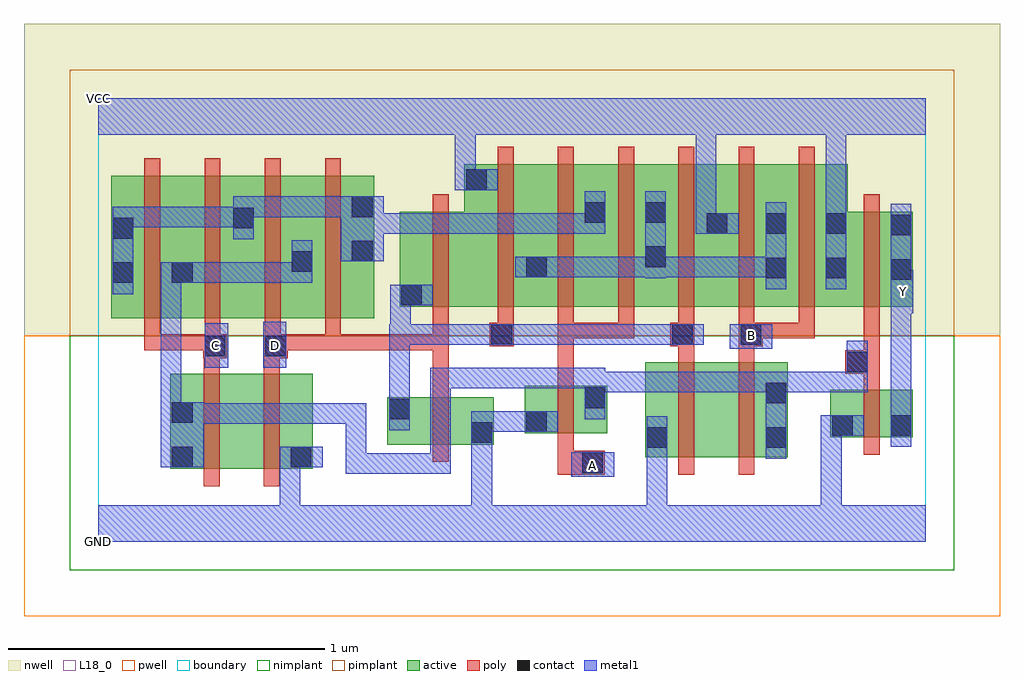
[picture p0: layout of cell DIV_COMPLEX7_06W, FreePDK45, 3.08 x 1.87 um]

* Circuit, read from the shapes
.subckt DIV_COMPLEX7_06W A B C D GND VCC Y
M1 n1 C n2 VSUBS nfet w=0.3u l=0.05u
M2 GND D n1 VSUBS nfet w=0.3u l=0.05u
M3 GND D n3 VSUBS nfet w=0.15u l=0.05u
M4 n2 A GND VSUBS nfet w=0.15u l=0.05u
M5 n4 n3 GND VSUBS nfet w=0.3u l=0.05u
M6 n2 B n4 VSUBS nfet w=0.3u l=0.05u
M7 Y n2 GND VSUBS nfet w=0.15u l=0.05u
M8 n2 C n5 n6 pfet w=0.45u l=0.05u m=2
M9 n2 D n5 n6 pfet w=0.45u l=0.05u m=2
M10 VCC D n3 n6 pfet w=0.3u l=0.05u
M11 n7 n3 VCC n6 pfet w=0.45u l=0.05u m=2
M12 n5 A n7 n6 pfet w=0.45u l=0.05u m=2
M13 n7 B VCC n6 pfet w=0.45u l=0.05u m=2
M14 Y n2 VCC n6 pfet w=0.3u l=0.05u
.ends

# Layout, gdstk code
import gdstk
lib = gdstk.Library(unit=1e-6, precision=1e-09)
def R(c, l, rs):  # rectangles x0, y0, x1, y1
    for r in rs: c.add(gdstk.rectangle(r[:2], r[2:], *l))
def A(c, l, x, y, w, h, nx, ny, dx, dy):  # array of equal rectangles
    R(c, l, [(x+i*dx, y+j*dy, x+i*dx+w, y+j*dy+h) for i in range(nx) for j in range(ny)])
active = (1, 0)
pwell = (2, 0)
nwell = (3, 0)
nimplant = (4, 0)
pimplant = (5, 0)
poly = (9, 0)
contact = (10, 0)
metal1 = (11, 0)
L18_0 = (18, 0)
boundary = (235, 0)

div_complex7_06w = lib.new_cell('DIV_COMPLEX7_06W')
R(div_complex7_06w, active, [(0.227,0.23,0.302,0.53), (0.227,0.23,0.452,0.53), (0.452,0.23,0.677,0.53), (0.602,0.23,0.677,0.53), (1.725,0.267,1.8,0.567), (1.725,0.267,1.95,0.567), (1.95,0.267,2.175,0.567), (2.1,0.267,2.175,0.567), (0.912,0.307,1.247,0.457), (1.172,0.307,1.247,0.457), (2.31,0.33,2.385,0.48), (2.31,0.33,2.57,0.48), (2.495,0.33,2.57,0.48), (1.345,0.342,1.42,0.492), (1.345,0.342,1.605,0.492), (1.53,0.342,1.605,0.492), (0.912,0.372,0.987,0.457), (0.04,0.705,0.115,1.155), (0.04,0.705,0.302,1.155), (0.227,0.705,0.302,1.07), (0.227,0.705,0.495,1.155), (0.42,0.705,0.495,1.155), (0.42,0.705,0.68,1.155), (0.605,0.705,0.87,1.155), (0.605,0.705,0.68,1.07), (0.795,0.705,0.87,1.155), (0.95,0.742,1.23,1.042), (0.95,0.742,1.025,1.005), (1.155,0.742,1.42,1.192), (1.345,0.742,1.605,1.192), (1.345,0.742,1.42,1.07), (1.53,0.742,1.795,1.192), (1.72,0.742,1.795,1.155), (1.72,0.742,1.99,1.192), (1.915,0.742,1.99,1.192), (1.915,0.742,2.175,1.192), (2.1,0.742,2.365,1.192), (2.1,0.742,2.175,1.155), (2.29,0.742,2.57,1.042), (2.29,0.742,2.365,1.192), (2.495,0.742,2.57,1.042), (1.53,0.857,1.605,1.155), (1.155,0.995,1.23,1.192)])
R(div_complex7_06w, pwell, [(-0.235,-0.235,2.845,0.65)])
R(div_complex7_06w, nwell, [(-0.235,0.65,2.845,1.635)])
R(div_complex7_06w, nimplant, [(-0.09,-0.09,2.7,0.65)])
R(div_complex7_06w, pimplant, [(-0.09,0.65,2.7,1.49)])
A(div_complex7_06w, poly, 0.145, 0.605, 0.05, 0.095, 4, 1, 0.19, 0)
A(div_complex7_06w, poly, 1.26, 0.642, 0.05, 0.095, 6, 1, 0.19, 0)
A(div_complex7_06w, poly, 0.145, 0.65, 0.05, 0.56, 4, 1, 0.19, 0)
A(div_complex7_06w, poly, 1.26, 0.687, 0.05, 0.56, 6, 1, 0.19, 0)
R(div_complex7_06w, poly, [(0.332,0.175,0.382,0.585), (0.522,0.175,0.572,0.585), (1.45,0.212,1.597,0.287), (1.83,0.212,1.88,0.622), (2.02,0.212,2.07,0.622), (1.45,0.237,1.5,0.337), (1.055,0.252,1.105,0.512), (2.415,0.275,2.465,0.535), (1.45,0.287,1.5,0.547), (1.055,0.462,1.105,0.655), (2.415,0.485,2.465,0.58), (1.45,0.497,1.5,0.692), (2.357,0.53,2.465,0.605), (0.332,0.535,0.382,0.63), (0.522,0.535,0.572,0.63), (2.415,0.555,2.465,0.737), (1.83,0.572,1.88,0.667), (2.02,0.572,2.07,0.667), (0.33,0.58,0.405,0.655), (0.522,0.58,0.597,0.655), (0.145,0.605,0.195,0.655), (0.145,0.605,0.195,0.655), (0.145,0.605,0.195,0.655), (0.145,0.605,0.38,0.655), (0.547,0.605,0.597,0.655), (0.547,0.605,0.597,0.655), (0.547,0.605,0.765,0.655), (0.715,0.605,0.765,0.655), (0.715,0.605,0.765,0.655), (0.715,0.605,0.765,0.655), (0.715,0.605,1.105,0.655), (1.055,0.605,1.105,0.655), (1.055,0.605,1.105,0.655), (1.055,0.605,1.105,0.655), (1.055,0.605,1.105,0.737), (1.235,0.617,1.31,0.692), (1.805,0.617,1.88,0.692), (2.02,0.617,2.097,0.692), (1.45,0.642,1.5,0.692), (1.45,0.642,1.5,0.692), (1.45,0.642,1.5,0.692), (1.45,0.642,1.69,0.692), (1.64,0.642,1.69,0.692), (2.047,0.642,2.26,0.692), (2.047,0.642,2.097,0.692), (2.047,0.642,2.097,0.692), (2.21,0.642,2.26,0.692), (1.055,0.687,1.105,1.097), (2.415,0.687,2.465,1.097)])
R(div_complex7_06w, contact, [(1.527,0.217,1.592,0.282), (0.232,0.235,0.297,0.3), (0.607,0.235,0.672,0.3), (1.73,0.297,1.795,0.362), (2.105,0.297,2.17,0.362), (1.177,0.312,1.242,0.377), (2.315,0.335,2.38,0.4), (2.5,0.335,2.565,0.4), (1.35,0.347,1.415,0.412), (0.232,0.375,0.297,0.44), (0.917,0.387,0.982,0.452), (1.535,0.422,1.6,0.487), (2.105,0.437,2.17,0.502), (2.362,0.535,2.427,0.6), (0.335,0.585,0.4,0.65), (0.527,0.585,0.592,0.65), (1.24,0.622,1.305,0.687), (1.81,0.622,1.875,0.687), (2.027,0.622,2.092,0.687), (0.955,0.747,1.02,0.812), (0.045,0.817,0.11,0.882), (0.232,0.817,0.297,0.882), (2.5,0.827,2.565,0.892), (2.105,0.832,2.17,0.897), (2.295,0.832,2.36,0.897), (1.35,0.835,1.415,0.9), (0.61,0.852,0.675,0.917), (1.725,0.867,1.79,0.932), (0.8,0.885,0.865,0.95), (0.045,0.957,0.11,1.022), (2.5,0.967,2.565,1.032), (1.92,0.972,1.985,1.037), (2.105,0.972,2.17,1.037), (2.295,0.972,2.36,1.037), (0.425,0.99,0.49,1.055), (1.535,1.007,1.6,1.072), (1.725,1.007,1.79,1.072), (0.8,1.025,0.865,1.09), (1.16,1.11,1.225,1.175)])
R(div_complex7_06w, metal1, [(0,0,2.61,0.115), (0.572,0.05,0.637,0.115), (0.572,0.05,0.637,0.115), (0.572,0.05,0.637,0.115), (0.572,0.05,0.637,0.115), (0.572,0.05,0.637,0.3), (1.177,0.05,1.242,0.115), (1.177,0.05,1.242,0.115), (1.177,0.05,1.242,0.115), (1.177,0.05,1.242,0.115), (1.177,0.05,1.242,0.115), (1.177,0.05,1.242,0.115), (1.177,0.05,1.242,0.342), (1.73,0.05,1.795,0.327), (2.28,0.05,2.345,0.115), (2.28,0.05,2.345,0.115), (2.28,0.05,2.345,0.4), (1.492,0.205,1.627,0.282), (0.78,0.215,0.845,0.28), (0.78,0.215,0.845,0.28), (0.78,0.215,0.845,0.28), (0.78,0.215,1.112,0.28), (0.78,0.215,0.845,0.437), (1.047,0.215,1.112,0.28), (1.047,0.215,1.112,0.55), (0.197,0.235,0.332,0.44), (0.572,0.235,0.707,0.3), (1.73,0.262,1.795,0.327), (1.73,0.262,1.795,0.327), (1.73,0.262,1.795,0.327), (1.73,0.262,1.795,0.327), (1.73,0.262,1.795,0.397), (2.105,0.262,2.17,0.537), (1.177,0.277,1.242,0.412), (2.5,0.3,2.565,0.435), (2.28,0.335,2.345,0.4), (2.28,0.335,2.345,0.4), (2.28,0.335,2.345,0.4), (2.28,0.335,2.345,0.4), (2.28,0.335,2.415,0.4), (1.177,0.347,1.35,0.412), (1.285,0.347,1.35,0.412), (1.285,0.347,1.38,0.412), (1.315,0.347,1.45,0.412), (0.917,0.352,0.982,0.487), (2.5,0.37,2.565,0.787), (0.267,0.372,0.332,0.437), (0.267,0.372,0.332,0.437), (0.267,0.372,0.5,0.437), (0.435,0.372,0.5,0.437), (0.435,0.372,0.5,0.437), (0.435,0.372,0.5,0.437), (0.435,0.372,0.692,0.437), (0.627,0.372,0.692,0.437), (0.627,0.372,0.692,0.437), (0.627,0.372,0.692,0.437), (0.627,0.372,0.845,0.437), (0.78,0.372,0.845,0.437), (0.197,0.375,0.262,0.882), (1.535,0.387,1.6,0.55), (0.917,0.422,0.982,0.687), (1.535,0.472,1.625,0.537), (1.56,0.472,1.625,0.537), (1.56,0.472,1.812,0.537), (1.747,0.472,1.812,0.537), (1.747,0.472,1.812,0.537), (1.747,0.472,1.812,0.537), (1.747,0.472,1.997,0.537), (1.932,0.472,1.997,0.537), (1.932,0.472,1.997,0.537), (1.932,0.472,1.997,0.537), (1.932,0.472,2.17,0.537), (2.105,0.472,2.265,0.537), (2.2,0.472,2.265,0.537), (2.2,0.472,2.427,0.537), (2.362,0.472,2.427,0.537), (2.362,0.472,2.427,0.565), (1.047,0.485,1.112,0.55), (1.047,0.485,1.122,0.55), (1.057,0.485,1.122,0.55), (1.057,0.485,1.35,0.55), (1.285,0.485,1.35,0.55), (1.285,0.485,1.45,0.55), (1.385,0.485,1.45,0.55), (1.385,0.485,1.487,0.55), (1.422,0.485,1.487,0.55), (1.422,0.485,1.6,0.55), (2.362,0.5,2.427,0.565), (2.362,0.5,2.427,0.565), (2.362,0.5,2.427,0.635), (0.335,0.55,0.41,0.69), (0.52,0.55,0.592,0.695), (1.992,0.61,2.127,0.687), (0.917,0.622,0.985,0.687), (0.92,0.622,1.062,0.687), (0.92,0.622,0.985,0.812), (0.997,0.622,1.062,0.687), (0.997,0.622,1.242,0.687), (1.177,0.622,1.242,0.687), (1.177,0.622,1.27,0.687), (1.205,0.622,1.34,0.687), (1.275,0.622,1.415,0.687), (1.35,0.622,1.415,0.687), (1.35,0.622,1.487,0.687), (1.422,0.622,1.487,0.687), (1.422,0.622,1.625,0.687), (1.56,0.622,1.625,0.687), (1.56,0.622,1.625,0.687), (1.56,0.622,1.625,0.687), (1.56,0.622,1.765,0.687), (1.7,0.622,1.765,0.687), (1.7,0.622,1.84,0.687), (1.775,0.622,1.91,0.687), (2.5,0.722,2.572,0.857), (0.92,0.747,1.055,0.812), (0.045,0.782,0.11,1.057), (2.5,0.792,2.565,0.857), (2.5,0.792,2.565,1.067), (2.105,0.797,2.17,1.072), (2.295,0.797,2.36,1.072), (0.197,0.817,0.262,0.882), (0.197,0.817,0.262,0.882), (0.197,0.817,0.332,0.882), (0.267,0.817,0.332,0.882), (0.267,0.817,0.332,0.882), (0.267,0.817,0.5,0.882), (0.435,0.817,0.5,0.882), (0.435,0.817,0.5,0.882), (0.435,0.817,0.5,0.882), (0.435,0.817,0.675,0.882), (0.61,0.817,0.675,0.952), (1.725,0.832,1.79,1.107), (1.315,0.835,1.45,0.9), (1.385,0.835,1.487,0.9), (1.422,0.835,1.487,0.9), (1.422,0.835,1.587,0.9), (1.522,0.835,1.587,0.9), (1.522,0.835,1.652,0.9), (1.587,0.835,1.652,0.9), (1.587,0.835,1.79,0.9), (1.725,0.835,1.79,0.9), (1.725,0.835,1.79,0.9), (1.725,0.835,2.032,0.9), (1.967,0.835,2.032,0.9), (1.967,0.835,2.032,0.9), (1.967,0.835,2.032,0.9), (1.967,0.835,2.17,0.9), (0.765,0.885,0.9,1.09), (0.425,0.955,0.49,1.09), (0.835,0.972,0.9,1.037), (0.835,0.972,0.9,1.037), (0.835,0.972,1.122,1.037), (1.057,0.972,1.122,1.037), (1.057,0.972,1.122,1.037), (1.057,0.972,1.122,1.037), (1.057,0.972,1.35,1.037), (1.285,0.972,1.35,1.037), (1.285,0.972,1.38,1.037), (1.315,0.972,1.38,1.037), (1.315,0.972,1.487,1.037), (1.422,0.972,1.487,1.037), (1.422,0.972,1.6,1.037), (1.535,0.972,1.6,1.107), (1.885,0.972,2.02,1.037), (1.885,0.972,1.95,1.35), (0.045,0.992,0.11,1.057), (0.045,0.992,0.11,1.057), (0.045,0.992,0.352,1.057), (0.287,0.992,0.352,1.057), (0.287,0.992,0.352,1.057), (0.287,0.992,0.352,1.057), (0.287,0.992,0.49,1.057), (2.295,1.007,2.36,1.35), (0.425,1.025,0.49,1.09), (0.425,1.025,0.49,1.09), (0.425,1.025,0.692,1.09), (0.627,1.025,0.692,1.09), (0.627,1.025,0.692,1.09), (0.627,1.025,0.692,1.09), (0.627,1.025,0.83,1.09), (1.125,1.11,1.26,1.175), (1.125,1.11,1.19,1.35), (0,1.285,2.61,1.4), (1.125,1.285,1.19,1.35), (1.125,1.285,1.19,1.35), (1.885,1.285,1.95,1.35), (1.885,1.285,1.95,1.35), (2.295,1.285,2.36,1.35), (2.295,1.285,2.36,1.35)])
R(div_complex7_06w, L18_0, [(0,0,2.61,0.115), (0.572,0.05,0.637,0.115), (0.572,0.05,0.637,0.115), (0.572,0.05,0.637,0.115), (0.572,0.05,0.637,0.115), (0.572,0.05,0.637,0.3), (1.177,0.05,1.242,0.115), (1.177,0.05,1.242,0.115), (1.177,0.05,1.242,0.115), (1.177,0.05,1.242,0.115), (1.177,0.05,1.242,0.115), (1.177,0.05,1.242,0.115), (1.177,0.05,1.242,0.342), (1.73,0.05,1.795,0.327), (2.28,0.05,2.345,0.115), (2.28,0.05,2.345,0.115), (2.28,0.05,2.345,0.4), (1.492,0.205,1.627,0.282), (1.527,0.207,1.592,0.272), (0.572,0.235,0.707,0.3), (1.73,0.262,1.795,0.327), (1.73,0.262,1.795,0.327), (1.73,0.262,1.795,0.327), (1.73,0.262,1.795,0.327), (1.73,0.262,1.795,0.397), (1.177,0.277,1.242,0.412), (2.5,0.3,2.565,0.435), (2.28,0.335,2.345,0.4), (2.28,0.335,2.345,0.4), (2.28,0.335,2.345,0.4), (2.28,0.335,2.345,0.4), (2.28,0.335,2.415,0.4), (1.177,0.347,1.35,0.412), (1.285,0.347,1.35,0.412), (1.285,0.347,1.38,0.412), (1.315,0.347,1.45,0.412), (2.5,0.37,2.565,0.787), (0.335,0.55,0.41,0.69), (0.52,0.55,0.592,0.695), (0.337,0.587,0.402,0.652), (0.527,0.587,0.592,0.652), (1.992,0.61,2.127,0.687), (2.027,0.617,2.092,0.682), (2.5,0.722,2.572,0.857), (2.507,0.757,2.572,0.822), (2.5,0.792,2.565,0.857), (2.5,0.792,2.565,1.067), (2.295,0.797,2.36,1.072), (1.885,0.972,2.02,1.037), (1.885,0.972,1.95,1.35), (2.295,1.007,2.36,1.35), (1.125,1.11,1.26,1.175), (1.125,1.11,1.19,1.35), (0,1.285,2.61,1.4), (1.125,1.285,1.19,1.35), (1.125,1.285,1.19,1.35), (1.885,1.285,1.95,1.35), (1.885,1.285,1.95,1.35), (2.295,1.285,2.36,1.35), (2.295,1.285,2.36,1.35)])
R(div_complex7_06w, boundary, [(0,0,2.61,1.4)])
div_complex7_06w.add(gdstk.Label('A', (1.56,0.24), layer=11, texttype=0))
div_complex7_06w.add(gdstk.Label('B', (2.06,0.65), layer=11, texttype=0))
div_complex7_06w.add(gdstk.Label('C', (0.37,0.62), layer=11, texttype=0))
div_complex7_06w.add(gdstk.Label('D', (0.56,0.62), layer=11, texttype=0))
div_complex7_06w.add(gdstk.Label('Y', (2.54,0.79), layer=11, texttype=0))
div_complex7_06w.add(gdstk.Label('VCC', (0,1.4), layer=11, texttype=0))
div_complex7_06w.add(gdstk.Label('GND', (0,0), layer=11, texttype=0))

lib.write_gds('DIV_COMPLEX7_06W.gds')
